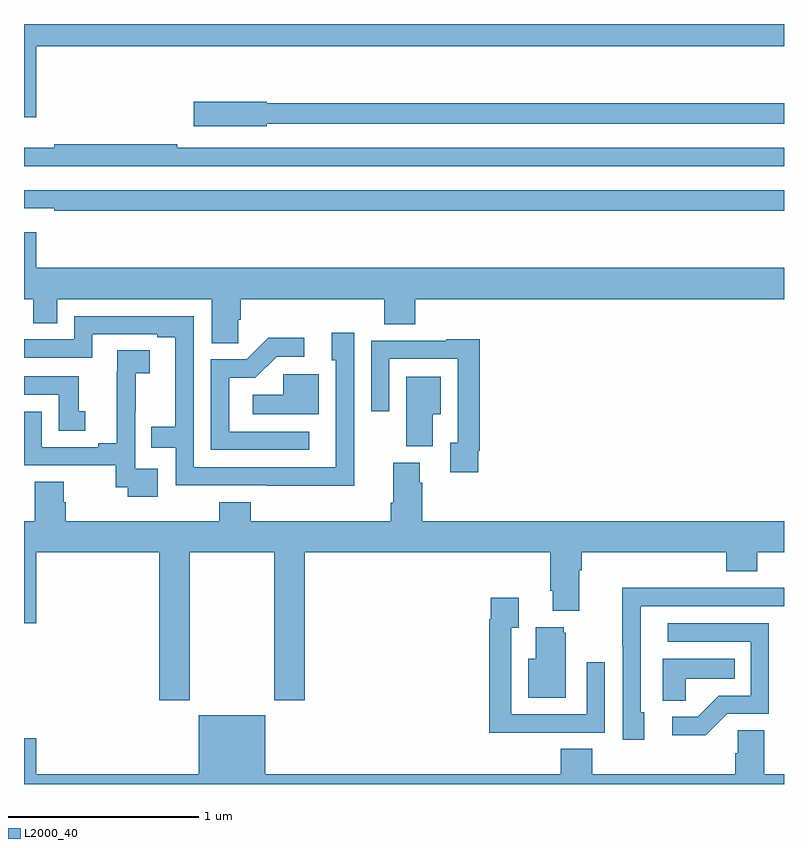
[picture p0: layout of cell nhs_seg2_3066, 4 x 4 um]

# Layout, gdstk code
import gdstk
lib = gdstk.Library(unit=1e-6, precision=1e-09)
def P(c, l, *ps):  # polygons
    for p in ps: c.add(gdstk.Polygon(p, *l))
L2000_40 = (2000, 40)

nhs_seg2_3066 = lib.new_cell('nhs_seg2_3066')
P(nhs_seg2_3066, L2000_40, [(273.064,599.684),(277,599.684),(277,599.8),(273,599.8),(273,599.31),(273.064,599.31)],
  [(274.278,599.274),(277,599.274),(277,599.383),(274.278,599.383),(274.278,599.391),(273.894,599.391),(273.894,599.261),(274.278,599.261)],
  [(277,599.148),(273.806,599.148),(273.806,599.168),(273.16,599.168),(273.16,599.149),(273,599.149),(273,599.052),(277,599.052)],
  [(277,598.926),(273,598.926),(273,598.83),(273.16,598.83),(273.16,598.818),(277,598.818)],
  [(274.128,598.243),(274.142,598.243),(274.142,598.352),(274.895,598.352),(274.895,598.219),(275.06,598.219),(275.06,598.352),(277,598.352),(277,598.516),(273.064,598.516),(273.064,598.705),(273,598.705),(273,598.352),(273.048,598.352),(273.048,598.225),(273.175,598.225),(273.175,598.352),(273.989,598.352),(273.989,598.12),(274.128,598.12)],
  [(274.739,597.674),(274.737,597.674),(274.737,598.174),(274.619,598.174),(274.619,598.029),(274.641,598.029),(274.641,597.468),(273.894,597.468),(273.894,598.263),(273.264,598.263),(273.264,598.14),(273,598.14),(273,598.044),(273.36,598.044),(273.36,598.167),(273.701,598.167),(273.701,598.152),(273.797,598.152),(273.797,597.679),(273.67,597.679),(273.67,597.57),(273.798,597.57),(273.798,597.372),(274.276,597.372),(274.276,597.371),(274.739,597.371)],
  [(274.501,597.654),(274.08,597.654),(274.08,597.939),(274.218,597.939),(274.329,598.05),(274.474,598.05),(274.474,598.148),(274.286,598.148),(274.173,598.035),(273.984,598.035),(273.984,597.558),(274.501,597.558)],
  [(275.392,597.553),(275.399,597.553),(275.399,598.141),(275.223,598.141),(275.223,598.134),(274.827,598.134),(274.827,597.762),(274.923,597.762),(274.923,598.038),(275.283,598.038),(275.283,597.597),(275.243,597.597),(275.243,597.441),(275.392,597.441)],
  [(273.703,597.459),(273.585,597.459),(273.585,597.763),(273.587,597.763),(273.587,597.961),(273.661,597.961),(273.661,598.082),(273.49,598.082),(273.49,597.971),(273.488,597.971),(273.488,597.593),(273.392,597.593),(273.392,597.573),(273.093,597.573),(273.093,597.759),(273,597.759),(273,597.477),(273.484,597.477),(273.484,597.363),(273.547,597.363),(273.547,597.312),(273.703,597.312)],
  [(274.552,597.957),(274.365,597.957),(274.365,597.85),(274.203,597.85),(274.203,597.746),(274.552,597.746)],
  [(273.322,597.762),(273.289,597.762),(273.289,597.945),(273,597.945),(273,597.849),(273.182,597.849),(273.182,597.658),(273.322,597.658)],
  [(275.152,597.746),(275.194,597.746),(275.194,597.943),(275.012,597.943),(275.012,597.577),(275.152,597.577)],
  [(273.873,597.02),(274.318,597.02),(274.318,596.241),(274.478,596.241),(274.478,597.02),(275.771,597.02),(275.771,596.818),(275.783,596.818),(275.783,596.711),(275.923,596.711),(275.923,596.924),(275.936,596.924),(275.936,597.02),(276.695,597.02),(276.695,596.921),(276.86,596.921),(276.86,597.02),(277,597.02),(277,597.184),(275.096,597.184),(275.096,597.386),(275.083,597.386),(275.083,597.492),(274.943,597.492),(274.943,597.28),(274.931,597.28),(274.931,597.184),(274.193,597.184),(274.193,597.283),(274.028,597.283),(274.028,597.184),(273.221,597.184),(273.221,597.282),(273.208,597.282),(273.208,597.392),(273.056,597.392),(273.056,597.184),(273,597.184),(273,596.646),(273.064,596.646),(273.064,597.02),(273.713,597.02),(273.713,596.241),(273.873,596.241)],
  [(276.265,596.178),(276.246,596.178),(276.246,596.736),(277,596.736),(277,596.832),(276.611,596.832),(276.611,596.834),(276.148,596.834),(276.148,596.527),(276.15,596.527),(276.15,596.034),(276.265,596.034)],
  [(275.741,596.07),(276.057,596.07),(276.057,596.44),(275.961,596.44),(275.961,596.166),(275.565,596.166),(275.565,596.623),(275.605,596.623),(275.605,596.779),(275.457,596.779),(275.457,596.666),(275.449,596.666),(275.449,596.069),(275.741,596.069)],
  [(276.702,596.169),(276.921,596.169),(276.921,596.646),(276.387,596.646),(276.387,596.55),(276.825,596.55),(276.825,596.265),(276.656,596.265),(276.545,596.154),(276.411,596.154),(276.411,596.057),(276.589,596.057)],
  [(275.851,596.595),(275.84,596.595),(275.84,596.626),(275.693,596.626),(275.693,596.458),(275.654,596.458),(275.654,596.255),(275.851,596.255)],
  [(276.483,596.354),(276.74,596.354),(276.74,596.458),(276.362,596.458),(276.362,596.239),(276.483,596.239)],
  [(277,595.852),(276.895,595.852),(276.895,596.084),(276.756,596.084),(276.756,595.961),(276.743,595.961),(276.743,595.852),(275.99,595.852),(275.99,595.985),(275.825,595.985),(275.825,595.852),(274.27,595.852),(274.27,596.161),(273.92,596.161),(273.92,595.852),(273.064,595.852),(273.064,596.041),(273,596.041),(273,595.8),(277,595.8)])

lib.write_gds('nhs_seg2_3066.gds')
